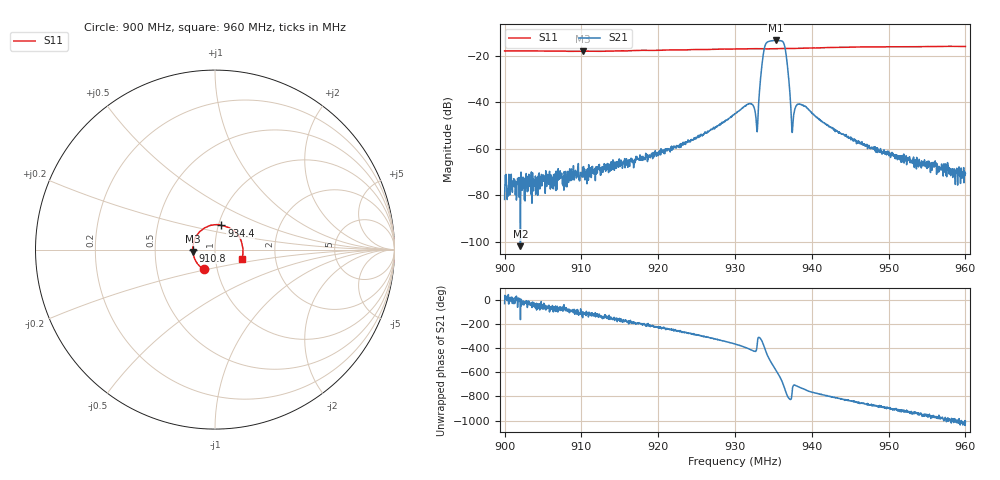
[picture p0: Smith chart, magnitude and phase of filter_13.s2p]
!Agilent Technologies,E5071C,MY46214392,A.11.36
!Date: Thu Feb 26 21:39:47 2026
!Data & Calibration Information:
!Freq	S11:NONE(--)	S21:NONE(--)	S12:NONE(--)	S22:NONE(--)
!PortZ  Port1:50+j0  Port2:50+j0
!Above PortZ is port z conversion or system Z0 setting when saving the data.
!When reading, reference impedance value at option line is always used.
# Hz S dB R 50
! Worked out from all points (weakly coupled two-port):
!   1601 points, 900 MHz to 960 MHz, reference 50 ohm
!   highest |S21| = -13.53 dB at 935.3 MHz (marker M1); lowest = -101.8 dB at 902.1 MHz (marker M2)
!   lowest |S11| = -18.2 dB at 910.2 MHz (marker M3), VSWR 1.28, Z = 39.1 - j0.911 ohm
!   |S11| at or under -10 dB: start of sweep to end of sweep
!   S12 and S22 are empty: the file has one direction only
!   S11 on the Smith chart (normalised r, x): 900 MHz: 0.86, -0.19; 910.8 MHz: 0.78, -0.01; 934.4 MHz: 1.03, +0.28; 960 MHz: 1.34, -0.14
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9e8  -18.05 -119.8  -81.77 -28.7  -200.00 0.0  -200.00 0.0
9.020625e8  -18.00 -130.8  -101.85 -161.1  -200.00 0.0  -200.00 0.0
9.100125e8  -18.19 -173.6  -71.23 -95.0  -200.00 0.0  -200.00 0.0
9.102375e8  -18.20 -174.6  -72.16 -102.1  -200.00 0.0  -200.00 0.0
9.108375e8  -18.14 -177.8  -68.65 -110.0  -200.00 0.0  -200.00 0.0
9.20025e8  -17.77 137.0  -62.93 136.1  -200.00 0.0  -200.00 0.0
9.3e8  -17.20 92.7  -45.00 -3.7  -200.00 0.0  -200.00 0.0
9.319875e8  -17.10 84.7  -40.63 -49.4  -200.00 0.0  -200.00 0.0
9.328125e8  -17.07 81.1  -50.66 -46.9  -200.00 0.0  -200.00 0.0
9.33075e8  -17.07 80.0  -40.72 51.2  -200.00 0.0  -200.00 0.0
9.337125e8  -17.09 77.3  -18.85 -11.2  -200.00 0.0  -200.00 0.0
9.343875e8  -17.13 75.1  -13.96 -120.1  -200.00 0.0  -200.00 0.0
9.35325e8  -17.06 71.9  -13.53 139.0  -200.00 0.0  -200.00 0.0
9.358875e8  -17.02 69.9  -13.62 77.2  -200.00 0.0  -200.00 0.0
9.364875e8  -16.97 67.4  -16.25 -18.7  -200.00 0.0  -200.00 0.0
9.368625e8  -17.00 66.1  -25.49 -80.1  -200.00 0.0  -200.00 0.0
9.37275e8  -16.99 64.8  -42.62 -104.1  -200.00 0.0  -200.00 0.0
9.375e8  -16.99 64.1  -51.21 -4.5  -200.00 0.0  -200.00 0.0
9.38325e8  -16.91 61.4  -40.84 -1.1  -200.00 0.0  -200.00 0.0
9.400125e8  -16.76 54.9  -44.66 -44.0  -200.00 0.0  -200.00 0.0
9.50025e8  -16.26 17.9  -63.00 -174.1  -200.00 0.0  -200.00 0.0
9.6e8  -16.11 -19.0  -70.62 72.6  -200.00 0.0  -200.00 0.0
